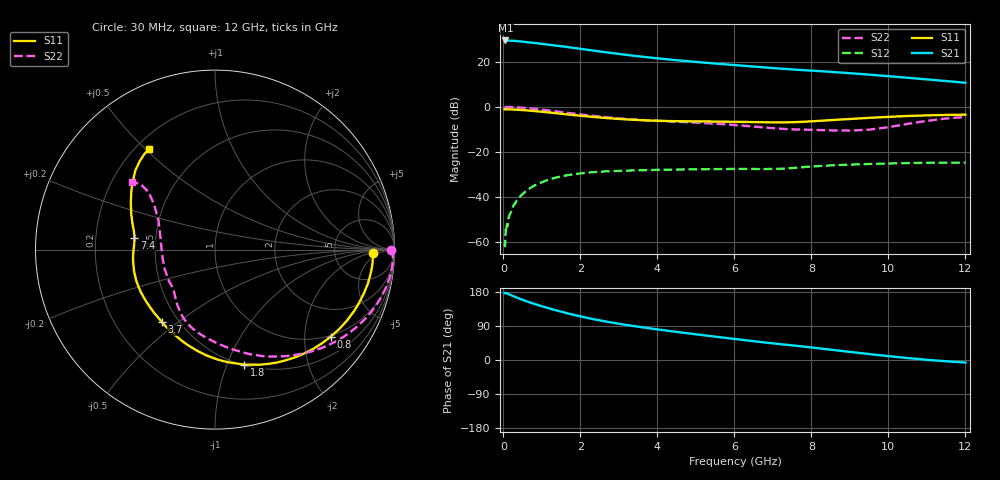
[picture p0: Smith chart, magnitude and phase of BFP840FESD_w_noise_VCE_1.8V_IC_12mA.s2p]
! Infineon Technologies  Discrete & RF Semiconductors
! BFP840FESD
! VCE =  1.8 V,  IC =  12 mA
! Common Emitter S-Parameters:  May 2012
# GHz  S  MA  R  50
!  f  S11  S21  S12  S22
! GHz  MAG  ANG  MAG  ANG  MAG  ANG  MAG  ANG
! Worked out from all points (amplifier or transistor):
!   103 points, 30 MHz to 12 GHz, reference 50 ohm
!   highest |S21| = 29.5 dB at 50 MHz (marker M1)
!   |S21| within 3 dB of that: start of sweep to 1.688 GHz
!   unconditionally stable (mu >= 1): 6.313 GHz to end of sweep
!   at 400 MHz: K = 0.10, MSG = 34.9 dB, |S12| = -40.6 dB
!   at 3.7 GHz: K = 0.58, MSG = 25.1 dB, |S12| = -28.1 dB
!   at 12 GHz: K = 1.14, MAG = 15.5 dB, |S12| = -24.8 dB
!   lowest NFmin = 0.70 dB at 450 MHz
!   S11 on the Smith chart (normalised r, x): 30 MHz: 15, -3; 800 MHz: 0.96, -2.68; 1.8 GHz: 0.51, -1.15; 3.7 GHz: 0.41, -0.44; 7.4 GHz: 0.38, +0.06; 12 GHz: 0.25, +0.51
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0.03  0.8823 -1.4  29.9 176.3  0.0009 60.2  0.9827 -0.1
0.04  0.8818 -1.9  29.89 176.0  0.0008 84.8  0.986 -0.6
0.05  0.8816 -2.4  29.95 177.2  0.0013 107.2  0.9892 -0.9
0.25  0.8731 -12.2  29.42 168.7  0.0062 83.5  0.9857 -9.1
0.45  0.8529 -21.5  28.42 160.5  0.0106 76.5  0.9613 -16.4
0.8  0.8067 -37.0  26.42 148.1  0.0177 67.8  0.9035 -28.0
1  0.7782 -45.3  25.11 141.8  0.0211 63.0  0.8654 -34.2
1.3  0.7323 -57.3  23.38 132.9  0.0259 56.4  0.8064 -43.0
1.6  0.6881 -68.8  21.78 124.8  0.0296 50.7  0.7483 -51.2
1.8  0.6609 -75.8  20.55 119.8  0.0316 47.0  0.7119 -56.5
2.1  0.6232 -85.7  19.01 112.8  0.0338 42.5  0.6634 -63.8
2.4  0.5915 -94.6  17.53 106.5  0.0357 38.4  0.6213 -70.4
2.8  0.5546 -105.4  15.78 99.1  0.0371 34.7  0.5741 -78.1
3.2  0.526 -115.1  14.31 92.4  0.0382 31.7  0.5385 -85.0
3.7  0.5007 -126.0  12.78 85.0  0.0392 29.1  0.5056 -92.4
4.1  0.4888 -134.1  11.77 79.4  0.0399 27.6  0.4856 -97.8
5  0.4759 -150.4  9.981 67.8  0.0409 25.5  0.4465 -108.5
6.1  0.4637 -167.7  8.37 54.4  0.0416 24.2  0.3897 -120.8
7.4  0.4536 171.6  6.887 39.7  0.0432 28.9  0.3196 -137.2
8.5  0.5071 157.0  6.008 27.2  0.05 28.6  0.3002 -160.6
10.5  0.6267 135.0  4.436 5.2  0.0563 23.8  0.4192 143.8
12  0.6701 123.3  3.435 -6.7  0.0578 22.6  0.5972 140.9
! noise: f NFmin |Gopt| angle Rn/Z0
0.45  0.7  0.26  5  0.14
0.9  0.73  0.26  11  0.14
1.5  0.75  0.24  16  0.14
1.9  0.75  0.22  26  0.14
2.4  0.76  0.2  35  0.14
3.5  0.77  0.19  59  0.14
5.5  0.82  0.12  111  0.12
8  0.93  0.12  175  0.12
10  1.06  0.24  -129  0.13
12  1.27  0.41  -111  0.15
